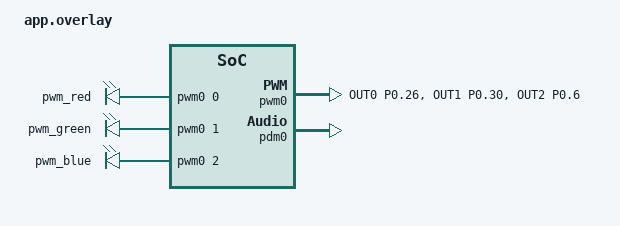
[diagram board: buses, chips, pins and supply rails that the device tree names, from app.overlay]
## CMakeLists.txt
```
cmake_minimum_required(VERSION 3.20.0)

find_package(Zephyr REQUIRED HINTS $ENV{ZEPHYR_BASE})
project(ble_mic)

# Add the shared library subdirectory so CMake builds it first
add_subdirectory(../../shared ../../shared)

# Include shared headers
target_include_directories(app PRIVATE
    ../../shared/include
    ../../shared/hal/gpio
    ../../shared/hal/adc
    ../../shared/hal/pwm
    ../../shared/hal/timer
    ../../shared/hal/rtc
    ../../shared/hal/watchdog
    ../../shared/hal/flash
    ../../shared/hal/rng
    ../../shared/hal/system
    ../../shared/hal/power
    ../../shared/drivers/uart
    ../../shared/drivers/spi
    ../../shared/drivers/i2c
    ../../shared/drivers/i2s
    ../../shared/drivers/ble
    ../../shared/drivers/usb_cdc
    ../../shared/drivers/nfc
    ../../shared/drivers/rgb_led
    ../../shared/drivers/battery
    ../../shared/drivers/button
    ../../shared/drivers/microphone
)

target_sources(app PRIVATE src/main.c)

# Link necessary driver libraries
target_link_libraries(app PRIVATE
    shared_utils
    shared_hal
    shared_ble
    shared_rgb_led
    shared_microphone
)
```

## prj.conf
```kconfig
# Logger configuration
CONFIG_LOG=y
CONFIG_LOG_MODE_IMMEDIATE=n
CONFIG_LOG_BUFFER_SIZE=4096

# GPIO configuration
CONFIG_GPIO=y

# PWM configuration (for status LED PWM if needed)
CONFIG_PWM=y

# Enable Bluetooth Stack & GATT Configs
CONFIG_BT=y
CONFIG_BT_SMP=y
CONFIG_BT_PERIPHERAL=y
CONFIG_BT_DEVICE_NAME="se3dstudio_mic"
CONFIG_BT_DEVICE_APPEARANCE=833

# BLE Throughput and MTU Optimizations
CONFIG_BT_BUF_ACL_TX_SIZE=251
CONFIG_BT_L2CAP_TX_MTU=247
CONFIG_BT_BUF_ACL_RX_SIZE=251
CONFIG_BT_USER_PHY_UPDATE=y
CONFIG_BT_USER_DATA_LEN_UPDATE=y

# Enable Audio & Digital Microphone (DMIC) subsystems for PDM microphone
CONFIG_AUDIO=y
CONFIG_AUDIO_DMIC=y
```

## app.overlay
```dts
#include <zephyr/dt-bindings/pinctrl/nrf-pinctrl.h>

&pinctrl {
	pwm0_default_custom: pwm0_default_custom {
		group1 {
			psels = <NRF_PSEL(PWM_OUT0, 0, 26)>,
				<NRF_PSEL(PWM_OUT1, 0, 30)>,
				<NRF_PSEL(PWM_OUT2, 0, 6)>;
			nordic,invert;
		};
	};

	pwm0_sleep_custom: pwm0_sleep_custom {
		group1 {
			psels = <NRF_PSEL(PWM_OUT0, 0, 26)>,
				<NRF_PSEL(PWM_OUT1, 0, 30)>,
				<NRF_PSEL(PWM_OUT2, 0, 6)>;
			low-power-enable;
		};
	};
};

&pwm0 {
	status = "okay";
	pinctrl-0 = <&pwm0_default_custom>;
	pinctrl-1 = <&pwm0_sleep_custom>;
	pinctrl-names = "default", "sleep";
};

/ {
	pwmleds {
		compatible = "pwm-leds";
		pwm_red: pwm_red {
			pwms = <&pwm0 0 PWM_MSEC(20) PWM_POLARITY_INVERTED>;
		};
		pwm_green: pwm_green {
			pwms = <&pwm0 1 PWM_MSEC(20) PWM_POLARITY_INVERTED>;
		};
		pwm_blue: pwm_blue {
			pwms = <&pwm0 2 PWM_MSEC(20) PWM_POLARITY_INVERTED>;
		};
	};

	aliases {
		pwm-red = &pwm_red;
		pwm-green = &pwm_green;
		pwm-blue = &pwm_blue;
	};
};

&pdm0 {
	status = "okay";
};
```

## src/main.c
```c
#include <zephyr/kernel.h>
#include <zephyr/device.h>
#include <zephyr/drivers/gpio.h>
#include <zephyr/logging/log.h>
#include <zephyr/bluetooth/bluetooth.h>
#include <zephyr/bluetooth/conn.h>
#include <zephyr/bluetooth/uuid.h>
#include <zephyr/bluetooth/gatt.h>
#include <stdio.h>
#include <string.h>

/* Include Shared Headers */
#include "hal_system.h"
#include "rgb_led_driver.h"
#include "mic_driver.h"

LOG_MODULE_REGISTER(ble_mic, LOG_LEVEL_INF);

/* ----------------------------------------------------------------- */
/* IMA ADPCM Compression State and Tables                            */
/* ----------------------------------------------------------------- */

static const int indexTable[16] = {
    -1, -1, -1, -1, 2, 4, 6, 8,
    -1, -1, -1, -1, 2, 4, 6, 8
};

static const int stepsizeTable[89] = {
    7, 8, 9, 10, 11, 12, 13, 14, 16, 17,
    19, 21, 23, 25, 28, 31, 34, 37, 41, 45,
    50, 55, 60, 66, 73, 80, 88, 97, 107, 118,
    130, 143, 157, 173, 190, 209, 230, 253, 279, 307,
    337, 371, 408, 449, 494, 544, 598, 658, 724, 796,
    876, 963, 1060, 1166, 1282, 1411, 1552, 1707, 1878, 2066,
    2272, 2499, 2749, 3024, 3326, 3659, 4025, 4428, 4871, 5358,
    5894, 6484, 7132, 7845, 8630, 9493, 10442, 11487, 12635, 13899,
    15289, 16818, 18500, 20350, 22385, 24623, 27086, 29794, 32767
};

struct adpcm_state {
    int16_t valprev;
    int8_t index;
};

static uint8_t adpcm_encode_sample(int16_t sample, struct adpcm_state *state)
{
    int diff = sample - state->valprev;
    int step = stepsizeTable[state->index];
    int code = 0;
    int tempstep = step;

    if (diff < 0) {
        code = 8;
        diff = -diff;
    }

    if (diff >= tempstep) {
        code |= 4;
        diff -= tempstep;
    }
    tempstep >>= 1;
    if (diff >= tempstep) {
        code |= 2;
        diff -= tempstep;
    }
    tempstep >>= 1;
    if (diff >= tempstep) {
        code |= 1;
    }

    // Update valprev state
    int vpdiff = step >> 3;
    if (code & 4) vpdiff += step;
    if (code & 2) vpdiff += step >> 1;
    if (code & 1) vpdiff += step >> 2;

    if (code & 8) {
        state->valprev -= vpdiff;
    } else {
        state->valprev += vpdiff;
    }

    // Clamp valprev to 16-bit range
    if (state->valprev > 32767) state->valprev = 32767;
    else if (state->valprev < -32768) state->valprev = -32768;

    // Update stepsize index
    state->index += indexTable[code & 7];
    if (state->index < 0) state->index = 0;
    else if (state->index > 88) state->index = 88;

    return code;
}

static void adpcm_encode_block(const int16_t *pcm, size_t len, uint8_t *encoded, struct adpcm_state *state)
{
    for (size_t i = 0; i < len; i += 2) {
        uint8_t code1 = adpcm_encode_sample(pcm[i], state);
        uint8_t code2 = adpcm_encode_sample(pcm[i + 1], state);
        encoded[i / 2] = (code2 << 4) | (code1 & 0x0F);
    }
}

/* ----------------------------------------------------------------- */
/* BLE Custom Audio GATT Service Definition                          */
/* ----------------------------------------------------------------- */

#define BT_UUID_AUDIO_SERVICE_VAL \
    BT_UUID_128_ENCODE(0x19b10000, 0xe8f2, 0x537e, 0x4f6c, 0xd104768a1214)

#define BT_UUID_AUDIO_CHAR_VAL \
    BT_UUID_128_ENCODE(0x19b10001, 0xe8f2, 0x537e, 0x4f6c, 0xd104768a1214)

static struct bt_uuid_128 audio_service_uuid = BT_UUID_INIT_128(BT_UUID_AUDIO_SERVICE_VAL);
static struct bt_uuid_128 audio_char_uuid = BT_UUID_INIT_128(BT_UUID_AUDIO_CHAR_VAL);

static volatile bool notifications_enabled = false;
static volatile bool ble_connected = false;

static void audio_ccc_cfg_changed(const struct bt_gatt_attr *attr, uint16_t value)
{
    notifications_enabled = (value == BT_GATT_CCC_NOTIFY);
    LOG_INF("Audio Notification State: %s", notifications_enabled ? "Enabled" : "Disabled");
}

/* Define Custom Audio GATT Service */
BT_GATT_SERVICE_DEFINE(audio_srv,
    BT_GATT_PRIMARY_SERVICE(&audio_service_uuid),
    BT_GATT_CHARACTERISTIC(&audio_char_uuid.uuid,
                           BT_GATT_CHRC_NOTIFY,
                           BT_GATT_PERM_NONE,
                           NULL, NULL, NULL),
    BT_GATT_CCC(audio_ccc_cfg_changed, BT_GATT_PERM_READ | BT_GATT_PERM_WRITE),
);

static int audio_stream_notify(const uint8_t *data, uint16_t len)
{
    return bt_gatt_notify(NULL, &audio_srv.attrs[2], data, len);
}

/* Connection Callbacks */
static void connected(struct bt_conn *conn, uint8_t err)
{
    if (err) {
        LOG_ERR("BLE Connection failed (err 0x%02x)", err);
    } else {
        ble_connected = true;
        LOG_INF("BLE Client Connected");
    }
}

static void disconnected(struct bt_conn *conn, uint8_t reason)
{
    ble_connected = false;
    notifications_enabled = false;
    LOG_INF("BLE Client Disconnected (reason 0x%02x)", reason);
}

BT_CONN_CB_DEFINE(conn_callbacks) = {
    .connected = connected,
    .disconnected = disconnected,
};

/* ----------------------------------------------------------------- */
/* Main Application Entry                                            */
/* ----------------------------------------------------------------- */

int main(void)
{
    int ret;
    char ble_name[32];
    uint8_t uuid[8];
    
    int16_t pcm_buf[256];
    uint8_t adpcm_buf[128];
    struct adpcm_state compress_state;

    LOG_INF("Initializing Ble-mic Application...");

    /* Initialize LED Driver */
    ret = rgb_led_init();
    if (ret < 0) {
        LOG_ERR("Failed to initialize RGB LED (err %d)", ret);
    }
    // Set color to Red (Advertising / standby)
    rgb_led_set(true, false, false);

    /* Initialize PDM Microphone */
    ret = mic_drv_init();
    if (ret < 0) {
        LOG_ERR("Failed to initialize Microphone (err %d)", ret);
        return ret;
    }

    /* Initialize BLE Stack */
    ret = bt_enable(NULL);
    if (ret && ret != -EALREADY) {
        LOG_ERR("Bluetooth initialization failed (err %d)", ret);
        return ret;
    }
    LOG_INF("Bluetooth successfully initialized");

    /* Format advertising name: se3dstudio_mic_[XXXX] */
    int len = hal_system_get_uuid(uuid, sizeof(uuid));
    if (len == 8) {
        uint16_t dev_id = ((uint16_t)uuid[1] << 8) | uuid[0];
        snprintf(ble_name, sizeof(ble_name), "se3dstudio_mic_%04X", dev_id);
    } else {
        snprintf(ble_name, sizeof(ble_name), "se3dstudio_mic_0000");
    }

    /* Start Bluetooth Advertising */
    struct bt_data ad[] = {
        BT_DATA_BYTES(BT_DATA_FLAGS, (BT_LE_AD_GENERAL | BT_LE_AD_NO_BREDR)),
        BT_DATA(BT_DATA_NAME_COMPLETE, ble_name, strlen(ble_name)),
    };

    struct bt_data sd[] = {
        BT_DATA_BYTES(BT_DATA_UUID128_ALL, BT_UUID_AUDIO_SERVICE_VAL),
    };

    ret = bt_le_adv_start(BT_LE_ADV_CONN_FAST_1, ad, ARRAY_SIZE(ad), sd, ARRAY_SIZE(sd));
    if (ret < 0) {
        LOG_ERR("BLE Advertising failed to start (err %d)", ret);
        return ret;
    }
    LOG_INF("BLE Microphone advertising started as '%s'", ble_name);

    /* Streaming State Machine Loop */
    while (1) {
        if (!ble_connected) {
            // Blink Red LED to show it is advertising/disconnected
            rgb_led_set(true, false, false);
            k_msleep(500);
            rgb_led_set(false, false, false);
            k_msleep(500);
            continue;
        }

        if (!notifications_enabled) {
            // Solid Blue LED to show connected but standby
            rgb_led_set(false, false, true);
            k_msleep(100);
            continue;
        }

        // We are connected and notifications are enabled: Start audio stream
        LOG_INF("Starting Audio Recording and Streaming...");
        rgb_led_set(false, true, false); // Solid Green for recording/streaming

        // Reset ADPCM compression state before starting the stream
        memset(&compress_state, 0, sizeof(compress_state));

        ret = mic_drv_start();
        if (ret < 0) {
            LOG_ERR("Failed to start mic driver (err %d)", ret);
            k_msleep(500);
            continue;
        }

        // Active Audio Streaming Loop
        while (notifications_enabled && ble_connected) {
            // Read 256 samples (blocks here for ~16 ms while buffer fills)
            ret = mic_drv_read(pcm_buf, 256);
            if (ret < 0) {
                LOG_ERR("Failed to read audio block (err %d)", ret);
                break;
            }

            // Compress 256 16-bit PCM samples to 128 4-bit ADPCM bytes
            adpcm_encode_block(pcm_buf, 256, adpcm_buf, &compress_state);

            // Stream compressed packet over GATT notification
            ret = audio_stream_notify(adpcm_buf, 128);
            if (ret < 0) {
                if (ret != -ENOTCONN) {
                    LOG_ERR("BLE notify failed (err %d)", ret);
                }
                break;
            }
        }

        // Stream stopped: Power down microphone and return to standby
        LOG_INF("Stopping Audio Recording and Streaming...");
        mic_drv_stop();
    }

    return 0;
}
```
